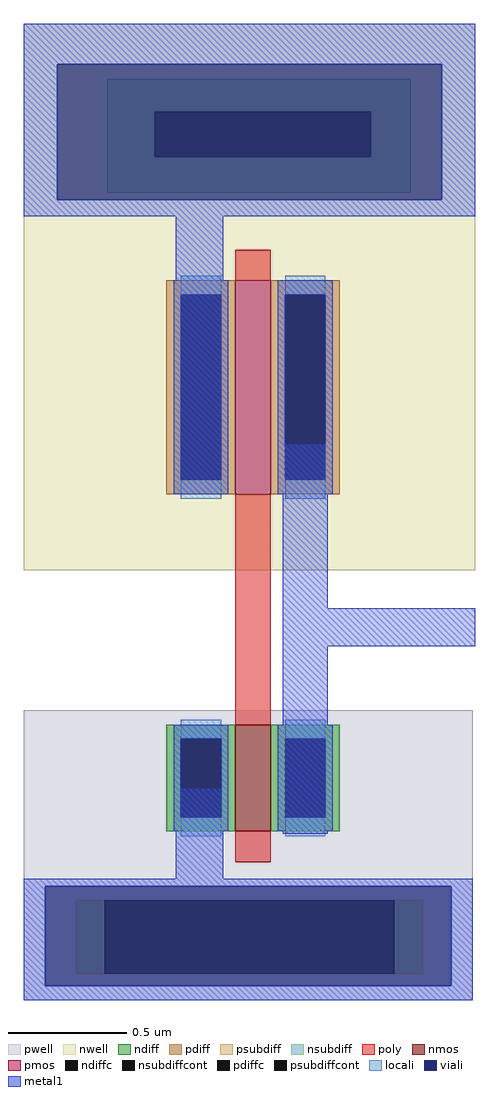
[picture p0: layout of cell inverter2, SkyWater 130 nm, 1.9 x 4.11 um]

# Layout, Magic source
magic
tech sky130A
magscale 1 2
<< nwell >>
rect -84 -2 296 458
<< pwell >>
rect -84 -364 294 -120
<< psubdiff >>
rect -40 -342 -16 -280
rect 228 -342 252 -280
<< nsubdiff >>
rect -14 384 242 412
rect -14 346 26 384
rect 208 346 242 384
rect -14 316 242 346
<< psubdiffcont >>
rect -16 -342 228 -280
<< nsubdiffcont >>
rect 26 346 208 384
<< poly >>
rect 94 -122 124 48
<< viali >>
rect -56 384 268 424
rect -56 346 26 384
rect 26 346 208 384
rect 208 346 268 384
rect -56 310 268 346
rect -66 -280 276 -268
rect -66 -342 -16 -280
rect -16 -342 228 -280
rect 228 -342 276 -280
rect -66 -352 276 -342
<< metal1 >>
rect -84 424 296 458
rect -84 310 -56 424
rect 268 310 296 424
rect -84 296 296 310
rect 44 64 84 296
rect 134 -34 172 104
rect 134 -66 296 -34
rect 44 -262 84 -186
rect 134 -224 172 -66
rect -84 -268 294 -262
rect -84 -352 -66 -268
rect 276 -352 294 -268
rect -84 -364 294 -352
use sky130_fd_pr__nfet_01v8_J836M4  sky130_fd_pr__nfet_01v8_J836M4_0
transform 1 0 109 0 1 -177
box -73 -71 73 71
use sky130_fd_pr__pfet_01v8_5AYHFE  sky130_fd_pr__pfet_01v8_5AYHFE_0
transform 1 0 109 0 1 152
box -109 -152 109 152
<< end >>

# cell sky130_fd_pr__nfet_01v8_J836M4: kit device sky130_fd_pr__nfet_01v8, w 0.45 l 0.150 m 1 nf 1 diffcov 100 polycov 100 guard 0 glc 0 grc 0 gtc 0 gbc 0 tbcov 100 rlcov 100 topc 0 botc 0 poverlap 0 doverlap 1 lmin 0.15 wmin 0.42 compatible {sky130_fd_pr__nfet_01v8 sky130_fd_pr__nfet_01v8_lvt sky130_fd_bs_flash__special_sonosfet_star sky130_fd_pr__nfet_g5v0d10v5 sky130_fd_pr__nfet_05v0_nvt} full_metal 0 viasrc 100 viadrn 100 viagate 100 viagb 0 viagr 0 viagl 0 viagt 0

# cell sky130_fd_pr__pfet_01v8_5AYHFE: kit device sky130_fd_pr__pfet_01v8, w 0.9 l 0.15 m 1 nf 1 diffcov 100 polycov 100 guard 0 glc 0 grc 0 gtc 0 gbc 0 tbcov 100 rlcov 100 topc 0 botc 0 poverlap 0 doverlap 1 lmin 0.15 wmin 0.42 compatible {sky130_fd_pr__pfet_01v8 sky130_fd_pr__pfet_01v8_lvt sky130_fd_pr__pfet_01v8_hvt sky130_fd_pr__pfet_g5v0d10v5} full_metal 0 viasrc 100 viadrn 100 viagate 100 viagb 0 viagr 0 viagl 0 viagt 0
